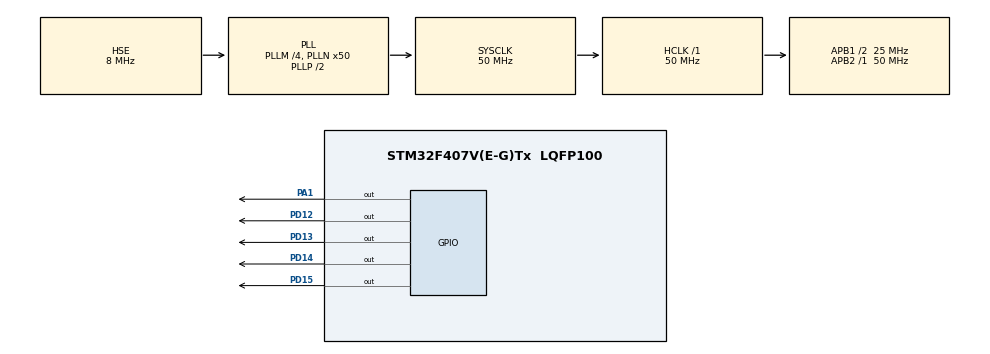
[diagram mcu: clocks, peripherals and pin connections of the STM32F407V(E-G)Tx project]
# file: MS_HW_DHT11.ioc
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Mcu.Family=STM32F4
Mcu.Name=STM32F407V(E-G)Tx
Mcu.Package=LQFP100
NVIC.PriorityGroup=NVIC_PRIORITYGROUP_0
PA1.Signal=GPIO_Output
PD12.Signal=GPIO_Output
PD13.Signal=GPIO_Output
PD14.Signal=GPIO_Output
PD15.Signal=GPIO_Output
PH0-OSC_IN.Mode=HSE-External-Oscillator
PH0-OSC_IN.Signal=RCC_OSC_IN
PH1-OSC_OUT.Mode=HSE-External-Oscillator
PH1-OSC_OUT.Signal=RCC_OSC_OUT
ProjectManager.HeapSize=0x200
ProjectManager.StackSize=0x400
ProjectManager.TargetToolchain=STM32CubeIDE
RCC.48MHZClocksFreq_Value=14285714.285714285
RCC.AHBFreq_Value=50000000
RCC.APB1CLKDivider=RCC_HCLK_DIV2
RCC.APB1Freq_Value=25000000
RCC.APB1TimFreq_Value=50000000
RCC.APB2Freq_Value=50000000
RCC.APB2TimFreq_Value=50000000
RCC.CortexFreq_Value=50000000
RCC.HCLKFreq_Value=50000000
RCC.HSE_VALUE=8000000
RCC.HSI_VALUE=16000000
RCC.LSE_VALUE=32768
RCC.PLLM=4
RCC.PLLN=50
RCC.PLLQ=7
RCC.PLLSourceVirtual=RCC_PLLSOURCE_HSE
RCC.SYSCLKFreq_VALUE=50000000
RCC.SYSCLKSource=RCC_SYSCLKSOURCE_PLLCLK
RCC.VCOOutputFreq_Value=100000000
TIM6.Period=0xffff-1
TIM6.Prescaler=50-1
VP_TIM6_VS_ClockSourceINT.Mode=Enable_Timer
board=STM32F407G-DISC1

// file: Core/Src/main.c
/* USER CODE BEGIN Header */
/**
  ******************************************************************************
  * @file           : main.c
  * @brief          : Main program body
  ******************************************************************************
  * @attention
  *
  * Copyright (c) 2023 STMicroelectronics.
  * All rights reserved.
  *
  * This software is licensed under terms that can be found in the LICENSE file
  * in the root directory of this software component.
  * If no LICENSE file comes with this software, it is provided AS-IS.
  *
  ******************************************************************************
  */
/* USER CODE END Header */
#include "main.h"

/* USER CODE BEGIN PD */
#define DHT11_PORT GPIOA
#define DHT11_PIN GPIO_PIN_1
/* USER CODE END PD */

TIM_HandleTypeDef htim6;

/* USER CODE BEGIN PV */

uint8_t Rh_byte1, Rh_byte2, Temp_byte1, Temp_byte2;
uint16_t SUM, RH, TEMP;
uint8_t Presence = 0;
float Temperature = 0;
float Humidity = 0;

/* USER CODE END PV */

void SystemClock_Config(void);
static void MX_GPIO_Init(void);
static void MX_TIM6_Init(void);

/* USER CODE BEGIN 0 */

void delay(uint16_t time){
//for microseconds delay
	__HAL_TIM_SET_COUNTER(&htim6,0);
	while(__HAL_TIM_GET_COUNTER(&htim6)<time);
}

void Set_Pin_Output(GPIO_TypeDef *GPIOx, uint16_t GPIO_Pin){

	GPIO_InitTypeDef GPIO_InitStruct = {0};

	GPIO_InitStruct.Pin=GPIO_Pin;
	GPIO_InitStruct.Mode=GPIO_MODE_OUTPUT_PP;
	GPIO_InitStruct.Pull=GPIO_NOPULL;
	GPIO_InitStruct.Speed=GPIO_SPEED_FREQ_LOW;

	HAL_GPIO_Init(GPIOx,&GPIO_InitStruct);
}

void Set_Pin_Input(GPIO_TypeDef *GPIOx, uint16_t GPIO_Pin){

	GPIO_InitTypeDef GPIO_InitStruct = {0};

	GPIO_InitStruct.Pin=GPIO_Pin;
	GPIO_InitStruct.Mode=GPIO_MODE_INPUT;
	GPIO_InitStruct.Pull=GPIO_NOPULL;
	GPIO_InitStruct.Speed=GPIO_SPEED_FREQ_LOW;

	HAL_GPIO_Init(GPIOx,&GPIO_InitStruct);
}

void DHT11_Start(void){
//Start Signal from MCU is 18ms low and 20-40us high
	Set_Pin_Output(DHT11_PORT, DHT11_PIN);
	HAL_GPIO_WritePin(DHT11_PORT, DHT11_PIN, 0);
	delay(18000);
	HAL_GPIO_WritePin(DHT11_PORT, DHT11_PIN, 1);
	delay(20);
	Set_Pin_Input(DHT11_PORT, DHT11_PIN);

}

uint8_t DHT11_Check_Response (void)
{
	uint8_t Response = 0;
	delay (40);
	if (!(HAL_GPIO_ReadPin (DHT11_PORT, DHT11_PIN)))
	{
		delay (80);
		if ((HAL_GPIO_ReadPin (DHT11_PORT, DHT11_PIN))){
			HAL_GPIO_WritePin(GPIOD, GPIO_PIN_12, SET);
			Response = 1; }//sensor is present
		else {
			Response = -1; //this means sensor is not present :(
			HAL_GPIO_WritePin(GPIOD, GPIO_PIN_15, SET);
			}
	}

	while ((HAL_GPIO_ReadPin (DHT11_PORT, DHT11_PIN)));   // wait for the pin to go low

	return Response;
}

uint8_t DHT11_Read (void)
{
	uint8_t i,j;
	for (j=0;j<8;j++)
	{
		while (!(HAL_GPIO_ReadPin (DHT11_PORT, DHT11_PIN)));   // wait for the pin to go high
		delay (40);   // wait for 40 us
		HAL_GPIO_WritePin(GPIOD, GPIO_PIN_13, SET);

		if (!(HAL_GPIO_ReadPin (DHT11_PORT, DHT11_PIN)))   // if the pin is low
		{
			i&= ~(1<<(7-j));   // write 0
		}
		else i|= (1<<(7-j));  // if the pin is high, write 1
		while ((HAL_GPIO_ReadPin (DHT11_PORT, DHT11_PIN)));  // wait for the pin to go low
	}
	return i;
}

/* USER CODE END 0 */

int main(void)
{

  /* MCU Configuration--------------------------------------------------------*/

  /* Reset of all peripherals, Initializes the Flash interface and the Systick. */
  HAL_Init();

  /* Configure the system clock */
  SystemClock_Config();

  /* Initialize all configured peripherals */
  MX_GPIO_Init();
  MX_TIM6_Init();
  /* USER CODE BEGIN 2 */
  HAL_TIM_Base_Start(&htim6);
  /* USER CODE END 2 */

  /* Infinite loop */
  while (1)
  {

    /* USER CODE BEGIN 3 */
	  DHT11_Start();
	  Presence = DHT11_Check_Response();
	  Rh_byte1 = DHT11_Read();
	  Rh_byte2 = DHT11_Read();
	  Temp_byte1 = DHT11_Read();
	  Temp_byte2 = DHT11_Read();
	  SUM = DHT11_Read();
	  TEMP = Temp_byte1;
	  RH = Rh_byte1;
		HAL_GPIO_WritePin(GPIOD, GPIO_PIN_13, SET);

	  Temperature = (float) TEMP;
	  Humidity = (float) RH;

	  HAL_Delay(1000);

  }
  /* USER CODE END 3 */
}

void SystemClock_Config(void)
{
  RCC_OscInitTypeDef RCC_OscInitStruct = {0};
  RCC_ClkInitTypeDef RCC_ClkInitStruct = {0};

  /** Configure the main internal regulator output voltage
  */
  __HAL_RCC_PWR_CLK_ENABLE();
  __HAL_PWR_VOLTAGESCALING_CONFIG(PWR_REGULATOR_VOLTAGE_SCALE1);

  /** Initializes the RCC Oscillators according to the specified parameters
  * in the RCC_OscInitTypeDef structure.
  */
  RCC_OscInitStruct.OscillatorType = RCC_OSCILLATORTYPE_HSE;
  RCC_OscInitStruct.HSEState = RCC_HSE_ON;
  RCC_OscInitStruct.PLL.PLLState = RCC_PLL_ON;
  RCC_OscInitStruct.PLL.PLLSource = RCC_PLLSOURCE_HSE;
  RCC_OscInitStruct.PLL.PLLM = 4;
  RCC_OscInitStruct.PLL.PLLN = 50;
  RCC_OscInitStruct.PLL.PLLP = RCC_PLLP_DIV2;
  RCC_OscInitStruct.PLL.PLLQ = 7;
  if (HAL_RCC_OscConfig(&RCC_OscInitStruct) != HAL_OK)
  {
    Error_Handler();
  }

  /** Initializes the CPU, AHB and APB buses clocks
  */
  RCC_ClkInitStruct.ClockType = RCC_CLOCKTYPE_HCLK|RCC_CLOCKTYPE_SYSCLK
                              |RCC_CLOCKTYPE_PCLK1|RCC_CLOCKTYPE_PCLK2;
  RCC_ClkInitStruct.SYSCLKSource = RCC_SYSCLKSOURCE_PLLCLK;
  RCC_ClkInitStruct.AHBCLKDivider = RCC_SYSCLK_DIV1;
  RCC_ClkInitStruct.APB1CLKDivider = RCC_HCLK_DIV2;
  RCC_ClkInitStruct.APB2CLKDivider = RCC_HCLK_DIV1;

  if (HAL_RCC_ClockConfig(&RCC_ClkInitStruct, FLASH_LATENCY_1) != HAL_OK)
  {
    Error_Handler();
  }
}

static void MX_TIM6_Init(void)
{

  TIM_MasterConfigTypeDef sMasterConfig = {0};

  htim6.Instance = TIM6;
  htim6.Init.Prescaler = 50-1;
  htim6.Init.CounterMode = TIM_COUNTERMODE_UP;
  htim6.Init.Period = 0xffff-1;
  htim6.Init.AutoReloadPreload = TIM_AUTORELOAD_PRELOAD_DISABLE;
  if (HAL_TIM_Base_Init(&htim6) != HAL_OK)
  {
    Error_Handler();
  }
  sMasterConfig.MasterOutputTrigger = TIM_TRGO_RESET;
  sMasterConfig.MasterSlaveMode = TIM_MASTERSLAVEMODE_DISABLE;
  if (HAL_TIMEx_MasterConfigSynchronization(&htim6, &sMasterConfig) != HAL_OK)
  {
    Error_Handler();
  }

}

static void MX_GPIO_Init(void)
{
  GPIO_InitTypeDef GPIO_InitStruct = {0};

  /* GPIO Ports Clock Enable */
  __HAL_RCC_GPIOH_CLK_ENABLE();
  __HAL_RCC_GPIOA_CLK_ENABLE();
  __HAL_RCC_GPIOD_CLK_ENABLE();

  /*Configure GPIO pin Output Level */
  HAL_GPIO_WritePin(GPIOA, GPIO_PIN_1, GPIO_PIN_RESET);

  /*Configure GPIO pin Output Level */
  HAL_GPIO_WritePin(GPIOD, GPIO_PIN_12|GPIO_PIN_13|GPIO_PIN_14|GPIO_PIN_15, GPIO_PIN_RESET);

  /*Configure GPIO pin : PA1 */
  GPIO_InitStruct.Pin = GPIO_PIN_1;
  GPIO_InitStruct.Mode = GPIO_MODE_OUTPUT_PP;
  GPIO_InitStruct.Pull = GPIO_NOPULL;
  GPIO_InitStruct.Speed = GPIO_SPEED_FREQ_LOW;
  HAL_GPIO_Init(GPIOA, &GPIO_InitStruct);

  /*Configure GPIO pins : PD12 PD13 PD14 PD15 */
  GPIO_InitStruct.Pin = GPIO_PIN_12|GPIO_PIN_13|GPIO_PIN_14|GPIO_PIN_15;
  GPIO_InitStruct.Mode = GPIO_MODE_OUTPUT_PP;
  GPIO_InitStruct.Pull = GPIO_NOPULL;
  GPIO_InitStruct.Speed = GPIO_SPEED_FREQ_LOW;
  HAL_GPIO_Init(GPIOD, &GPIO_InitStruct);

}

void Error_Handler(void)
{
  __disable_irq();
  while (1)
  {
  }
}
